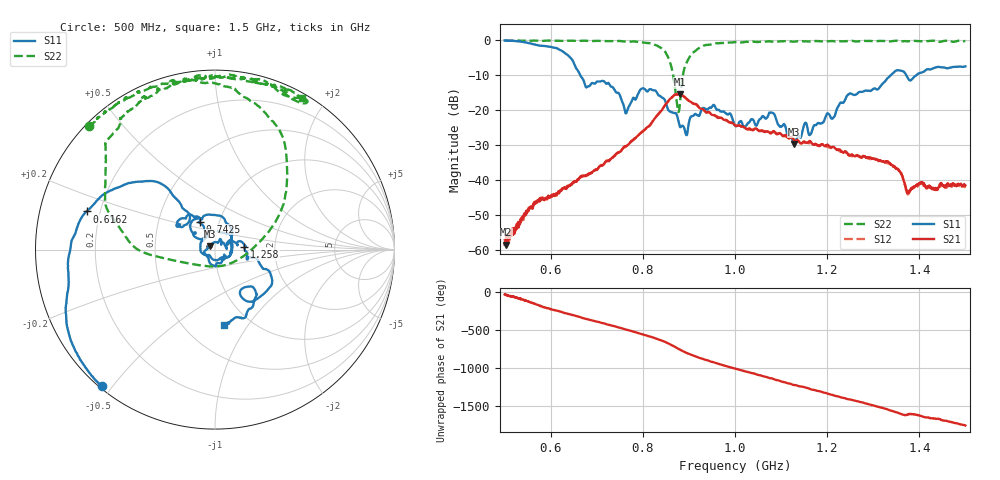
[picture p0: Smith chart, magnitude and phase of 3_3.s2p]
!Agilent Technologies,E8364B,US42250235,A.06.04.32
!Agilent E8364B: A.06.04.32
!Date: Friday, January 15, 2021 16:30:02
!Correction: S11(Full 2 Port(1,2)) S21(Full 2 Port(1,2)) S12(Full 2 Port(1,2)) S22(Full 2 Port(1,2))
!S2P File: Measurements: S11, S21, S12, S22:
# Hz S  dB  R 50
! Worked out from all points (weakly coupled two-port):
!   1601 points, 500 MHz to 1.5 GHz, reference 50 ohm
!   highest |S21| = -15.49 dB at 880.6 MHz (marker M1); lowest = -58.5 dB at 503.8 MHz (marker M2)
!   lowest |S11| = -29.7 dB at 1.128 GHz (marker M3), VSWR 1.07, Z = 47.4 + j1.8 ohm
!   |S11| at or under -10 dB: 664 MHz to 1.338 GHz (674.4 MHz wide, 67.4 % of centre); 1.372 GHz to 1.394 GHz (22.42 MHz wide, 1.62 % of centre)
!   |S22| runs from -20.6 to -0.1 dB; largest |S21 - S12| = 0.0033
!   S11 on the Smith chart (normalised r, x): 500 MHz: 0.01, -0.47; 616.2 MHz: 0.15, +0.14; 742.5 MHz: 0.81, +0.26; 1.258 GHz: 1.39, +0.04; 1.5 GHz: 0.76, -0.77
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5e8  -0.10 -129.5  -58.47 -29.2  -56.85 -30.0  -0.15 135.7
5.0375e8  -0.11 -131.0  -58.50 -35.0  -58.06 -37.8  -0.16 135.3
6.1625e8  -2.54 163.4  -43.55 113.3  -43.86 114.4  -0.19 123.2
6.66875e8  -10.61 128.1  -38.81 25.7  -39.05 24.3  -0.20 115.7
7.425e8  -14.98 118.7  -32.56 -95.7  -32.45 -96.3  -0.30 103.7
7.64375e8  -20.81 138.0  -30.29 -134.4  -30.27 -133.7  -0.41 100.4
7.98125e8  -13.87 130.2  -26.23 165.4  -26.28 164.7  -0.63 90.8
8.3375e8  -15.79 68.1  -21.16 96.9  -21.13 96.6  -1.78 70.2
8.59375e8  -20.45 22.0  -16.77 31.0  -16.89 31.0  -6.49 35.3
8.75e8  -21.95 -33.5  -15.57 -20.6  -15.59 -20.8  -19.22 -48.3
8.80625e8  -24.89 -52.2  -15.49 -39.0  -15.51 -39.0  -17.91 -137.4
8.90625e8  -25.51 -109.7  -16.28 -70.7  -16.27 -71.3  -7.90 -177.9
9.06875e8  -21.77 178.2  -17.94 -111.0  -18.02 -111.2  -3.80 159.1
9.5375e8  -18.54 43.9  -21.46 153.2  -21.40 152.0  -1.01 126.1
1e9  -24.49 -28.7  -24.40 69.1  -24.30 68.7  -0.54 114.7
1.08e9  -20.75 -88.6  -26.44 -59.7  -26.32 -62.5  -0.41 104.0
1.128125e9  -29.72 144.4  -28.69 -147.8  -28.43 -146.8  -0.44 95.8
1.166875e9  -26.09 43.2  -29.54 151.8  -29.61 153.3  -0.38 90.4
1.2575e9  -15.66 4.9  -33.08 8.9  -33.12 10.2  -0.28 86.0
1.33375e9  -10.61 -21.5  -34.96 -118.0  -35.21 -117.6  -0.37 75.8
1.375625e9  -10.99 -60.4  -43.55 -176.5  -44.06 -177.7  -0.35 71.0
1.5e9  -7.52 -83.4  -41.57 37.0  -41.79 34.9  -0.24 60.0
